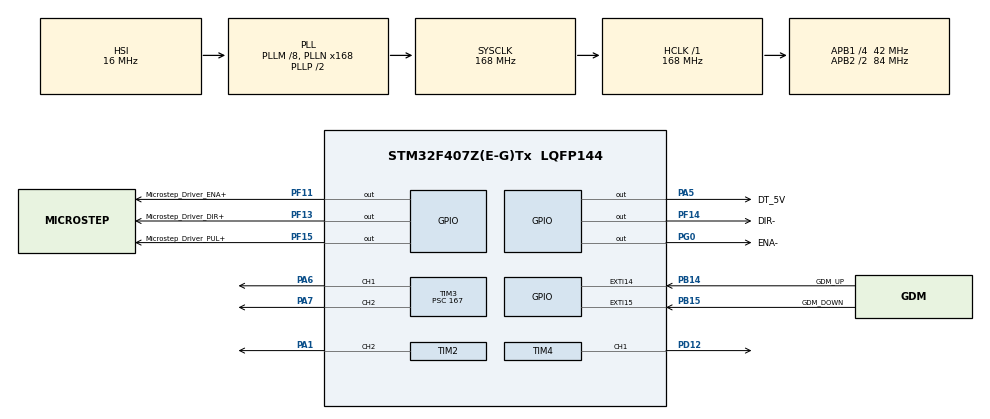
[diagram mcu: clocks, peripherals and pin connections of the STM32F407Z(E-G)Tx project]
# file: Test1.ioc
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Mcu.Family=STM32F4
Mcu.Name=STM32F407Z(E-G)Tx
Mcu.Package=LQFP144
NVIC.EXTI15_10_IRQn=true\:0\:0\:false\:false\:true\:true\:true\:true
NVIC.PriorityGroup=NVIC_PRIORITYGROUP_4
NVIC.RCC_IRQn=true\:0\:0\:true\:false\:true\:true\:false\:true
NVIC.TIM3_IRQn=true\:0\:0\:false\:false\:true\:true\:true\:true
NVIC.TIM8_BRK_TIM12_IRQn=true\:0\:0\:false\:false\:true\:true\:true\:true
NVIC.TIM8_CC_IRQn=true\:0\:0\:false\:false\:true\:true\:true\:true
NVIC.TIM8_UP_TIM13_IRQn=true\:0\:0\:false\:false\:true\:true\:true\:true
PA1.Signal=S_TIM2_CH2
PA13.Mode=Serial_Wire
PA13.Signal=SYS_JTMS-SWDIO
PA14.Mode=Serial_Wire
PA14.Signal=SYS_JTCK-SWCLK
PA5.GPIO_Label=DT_5V
PA5.PinState=GPIO_PIN_SET
PA5.Signal=GPIO_Output
PA6.Signal=S_TIM3_CH1
PA7.Signal=S_TIM3_CH2
PB14.GPIO_Label=GDM_UP
PB14.GPIO_PuPd=GPIO_PULLDOWN
PB14.Signal=GPXTI14
PB15.GPIO_Label=GDM_DOWN
PB15.GPIO_PuPd=GPIO_PULLDOWN
PB15.Signal=GPXTI15
PD12.Signal=S_TIM4_CH1
PF11.GPIO_Label=Microstep_Driver_ENA+
PF11.PinState=GPIO_PIN_SET
PF11.Signal=GPIO_Output
PF13.GPIO_Label=Microstep_Driver_DIR+
PF13.PinState=GPIO_PIN_SET
PF13.Signal=GPIO_Output
PF14.GPIO_Label=DIR-
PF14.Signal=GPIO_Output
PF15.GPIO_Label=Microstep_Driver_PUL+
PF15.PinState=GPIO_PIN_SET
PF15.Signal=GPIO_Output
PG0.GPIO_Label=ENA-
PG0.Signal=GPIO_Output
PH0-OSC_IN.Mode=HSE-External-Oscillator
PH0-OSC_IN.Signal=RCC_OSC_IN
PH1-OSC_OUT.Mode=HSE-External-Oscillator
PH1-OSC_OUT.Signal=RCC_OSC_OUT
ProjectManager.HeapSize=0x200
ProjectManager.StackSize=0x400
ProjectManager.TargetToolchain=MDK-ARM V5.32
RCC.48MHZClocksFreq_Value=84000000
RCC.AHBFreq_Value=168000000
RCC.APB1CLKDivider=RCC_HCLK_DIV4
RCC.APB1Freq_Value=42000000
RCC.APB1TimFreq_Value=84000000
RCC.APB2CLKDivider=RCC_HCLK_DIV2
RCC.APB2Freq_Value=84000000
RCC.APB2TimFreq_Value=168000000
RCC.CortexFreq_Value=168000000
RCC.HCLKFreq_Value=168000000
RCC.HSE_VALUE=25000000
RCC.HSI_VALUE=16000000
RCC.LSE_VALUE=32768
RCC.PLLM=8
RCC.PLLN=168
RCC.SYSCLKFreq_VALUE=168000000
RCC.SYSCLKSource=RCC_SYSCLKSOURCE_PLLCLK
RCC.VCOOutputFreq_Value=336000000
SH.S_TIM2_CH2.0=TIM2_CH2,PWM Generation2 CH2
SH.S_TIM3_CH1.0=TIM3_CH1,PWM Generation1 CH1
SH.S_TIM3_CH2.0=TIM3_CH2,PWM Generation2 CH2
SH.S_TIM4_CH1.0=TIM4_CH1,PWM Generation1 CH1
TIM2.AutoReloadPreload=TIM_AUTORELOAD_PRELOAD_ENABLE
TIM2.Channel-PWM\ Generation2\ CH2=TIM_CHANNEL_2
TIM2.Period=19999
TIM2.Prescaler=167
TIM2.Pulse-PWM\ Generation2\ CH2=999
TIM3.Channel-PWM\ Generation1\ CH1=TIM_CHANNEL_1
TIM3.Channel-PWM\ Generation2\ CH2=TIM_CHANNEL_2
TIM3.OCMode_PWM-PWM\ Generation1\ CH1=TIM_OCMODE_PWM1
TIM3.Period=1999
TIM3.Prescaler=167
TIM4.AutoReloadPreload=TIM_AUTORELOAD_PRELOAD_ENABLE
TIM4.Channel-PWM\ Generation1\ CH1=TIM_CHANNEL_1
TIM4.Period=1999
TIM4.Prescaler=167
TIM8.AutoReloadPreload=TIM_AUTORELOAD_PRELOAD_ENABLE
TIM8.Period=999
TIM8.Prescaler=167
VP_TIM2_VS_ClockSourceINT.Mode=Internal
VP_TIM3_VS_ClockSourceINT.Mode=Internal
VP_TIM4_VS_ClockSourceINT.Mode=Internal
VP_TIM8_VS_ClockSourceINT.Mode=Internal
board=custom

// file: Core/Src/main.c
/* USER CODE BEGIN Header */
/**
  ******************************************************************************
  * @file           : main.c
  * @brief          : Main program body
  ******************************************************************************
  * @attention
  *
  * Copyright (c) 2024 STMicroelectronics.
  * All rights reserved.
  *
  * This software is licensed under terms that can be found in the LICENSE file
  * in the root directory of this software component.
  * If no LICENSE file comes with this software, it is provided AS-IS.
  *
  ******************************************************************************
  */
/* USER CODE END Header */
#include "main.h"
#include "tim.h"
#include "gpio.h"

void SystemClock_Config(void);

/* USER CODE BEGIN 0 */
uint32_t count = 0;
uint32_t todo = 0,lef=0;
int32_t stop =1;
int16_t cnt1=0,cnt2=0;
GPIO_PinState status1[10],status2[10];
  char t;

/* USER CODE END 0 */

int main(void)
{

  /* MCU Configuration--------------------------------------------------------*/

  /* Reset of all peripherals, Initializes the Flash interface and the Systick. */
  HAL_Init();

  /* Configure the system clock */
  SystemClock_Config();

  /* Initialize all configured peripherals */
  MX_GPIO_Init();
  MX_TIM3_Init();
  MX_TIM4_Init();
  MX_TIM8_Init();
  MX_TIM2_Init();
  /* USER CODE BEGIN 2 */
  HAL_TIM_Base_Start_IT(&htim8);

  // for(lef = 0;lef<10;lef++){
  //   status1[lef]=GPIO_PIN_SET;
  //   status2[lef]=GPIO_PIN_SET;
  // }

  //HAL_TIM_PWM_Start(&htim2,TIM_CHANNEL_2);
  //__HAL_TIM_SetCompare(&htim2,TIM_CHANNEL_2,790);

  //HAL_TIM_PWM_Start(&htim3,TIM_CHANNEL_1);
  //HAL_TIM_PWM_Start(&htim3,TIM_CHANNEL_2);
  __HAL_TIM_SetCompare(&htim3,TIM_CHANNEL_1,1200);
  __HAL_TIM_SetCompare(&htim3,TIM_CHANNEL_2,1200);
  HAL_Delay(3000);
  __HAL_TIM_SetCompare(&htim3,TIM_CHANNEL_1,750);
  __HAL_TIM_SetCompare(&htim3,TIM_CHANNEL_2,750);

  HAL_TIM_PWM_Start(&htim4,TIM_CHANNEL_1);
  __HAL_TIM_SET_AUTORELOAD(&htim4,1000); //2ms
  __HAL_TIM_SetCompare(&htim4,TIM_CHANNEL_1,500);
  HAL_GPIO_WritePin(ENA__GPIO_Port,ENA__Pin,GPIO_PIN_SET);
  HAL_GPIO_WritePin(DIR__GPIO_Port,DIR__Pin,GPIO_PIN_SET);//when zhushi it move to mocalun
  HAL_GPIO_WritePin(DT_5V_GPIO_Port,DT_5V_Pin,GPIO_PIN_SET);
  /* USER CODE END 2 */

  /* Infinite loop */
  /* USER CODE BEGIN WHILE */
  while (1)
  {
		// if(stop){
    //   HAL_GPIO_WritePin(ENA__GPIO_Port,ENA__Pin,GPIO_PIN_RESET);
    // }
    count++;
		//if(count==100000)HAL_GPIO_WritePin(ENA__GPIO_Port,ENA__Pin,GPIO_PIN_SET);
		//if(count==200000)HAL_GPIO_WritePin(ENA__GPIO_Port,ENA__Pin,GPIO_PIN_SET);
    // if (count % 100000 == 0 && count < 200000000){
    //   __HAL_TIM_SetCompare(&htim2,TIM_CHANNEL_2,999+count/100000);
    // }

    // if(count==5000000){

    // }
    if(count == 300000){ //1/T平滑
     __HAL_TIM_SET_AUTORELOAD(&htim4,400); //200us
     __HAL_TIM_SetCompare(&htim4,TIM_CHANNEL_1,200);

    }
    if(count == 600000){ //1/T平滑
     __HAL_TIM_SET_AUTORELOAD(&htim4,200); //2100us
     __HAL_TIM_SetCompare(&htim4,TIM_CHANNEL_1,100);
    //__HAL_TIM_SetCompare(&htim2,TIM_CHANNEL_2,790);
    }
    // if( cnt1>=7 || cnt2>=7 ){
    //   HAL_GPIO_WritePin(ENA__GPIO_Port,ENA__Pin,GPIO_PIN_RESET);
    // }
    // if(todo){
    //   todo = 0;
    //   if(status1[0]==GPIO_PIN_RESET) cnt1--;
    //   if(status2[0]==GPIO_PIN_RESET) cnt2--;
    //   for(t=0;t<9;t++){
    //     status1[t]=status1[t+1];
    //     status2[t]=status2[t+1];
    //   }
    //   status1[9] = HAL_GPIO_ReadPin(GPIOB,GPIO_PIN_14);
    //   status2[9] = HAL_GPIO_ReadPin(GPIOB,GPIO_PIN_15);
    //   if(status1[9]==GPIO_PIN_RESET) cnt1++;
    //   if(status2[9]==GPIO_PIN_RESET) cnt2++;

    // }
		//else if(status1 || status2){
    //  HAL_GPIO_WritePin(ENA__GPIO_Port,ENA__Pin,GPIO_PIN_SET);
    //}
    if(count == 750000){
      __HAL_TIM_SET_AUTORELOAD(&htim4,150); //100us
      __HAL_TIM_SetCompare(&htim4,TIM_CHANNEL_1,75);
    }
    if(count == 900000){

      __HAL_TIM_SET_AUTORELOAD(&htim4,126); //100us
      __HAL_TIM_SetCompare(&htim4,TIM_CHANNEL_1,63);
    }
    if(count == 1050000){
      __HAL_TIM_SET_AUTORELOAD(&htim4,110); //100us
      __HAL_TIM_SetCompare(&htim4,TIM_CHANNEL_1,55);
    }
    if(count == 1200000){
      __HAL_TIM_SET_AUTORELOAD(&htim4,100); //100us
      __HAL_TIM_SetCompare(&htim4,TIM_CHANNEL_1,50);
    }
    // if(count == 2500000){
    //   __HAL_TIM_SET_AUTORELOAD(&htim4,90); //100us
    //   __HAL_TIM_SetCompare(&htim4,TIM_CHANNEL_1,45);
    // }
    // if(count == 2750000){
    //   __HAL_TIM_SET_AUTORELOAD(&htim4,84); //100us
    //   __HAL_TIM_SetCompare(&htim4,TIM_CHANNEL_1,42);
    // }
    // if(count == 3000000){
    //   __HAL_TIM_SET_AUTORELOAD(&htim4,76); //100us
    //   __HAL_TIM_SetCompare(&htim4,TIM_CHANNEL_1,38);
    // }
    // if(count == 3250000){
    //   __HAL_TIM_SET_AUTORELOAD(&htim4,72); //100us
    //   __HAL_TIM_SetCompare(&htim4,TIM_CHANNEL_1,36);
    // }
    // if(count == 3500000){
    //   __HAL_TIM_SET_AUTORELOAD(&htim4,66); //100us
    //   __HAL_TIM_SetCompare(&htim4,TIM_CHANNEL_1,33);
    // }

    // if(stop){
    //   HAL_GPIO_WritePin(ENA__GPIO_Port,ENA__Pin,GPIO_PIN_RESET);
    //   __HAL_TIM_SET_AUTORELOAD(&htim4,1000); //200us
    //   __HAL_TIM_SetCompare(&htim4,TIM_CHANNEL_1,500);
    // }

    // if(count == 5000){
    //   lef++;
    //   HAL_GPIO_TogglePin(PUL__GPIO_Port,PUL__Pin);
    //   count = 0;
    // }

    // if(lef==1000000)break;
    /* USER CODE END WHILE */

  }
}

void SystemClock_Config(void)
{
  RCC_OscInitTypeDef RCC_OscInitStruct = {0};
  RCC_ClkInitTypeDef RCC_ClkInitStruct = {0};

  /** Configure the main internal regulator output voltage
  */
  __HAL_RCC_PWR_CLK_ENABLE();
  __HAL_PWR_VOLTAGESCALING_CONFIG(PWR_REGULATOR_VOLTAGE_SCALE1);

  /** Initializes the RCC Oscillators according to the specified parameters
  * in the RCC_OscInitTypeDef structure.
  */
  RCC_OscInitStruct.OscillatorType = RCC_OSCILLATORTYPE_HSI;
  RCC_OscInitStruct.HSIState = RCC_HSI_ON;
  RCC_OscInitStruct.HSICalibrationValue = RCC_HSICALIBRATION_DEFAULT;
  RCC_OscInitStruct.PLL.PLLState = RCC_PLL_ON;
  RCC_OscInitStruct.PLL.PLLSource = RCC_PLLSOURCE_HSI;
  RCC_OscInitStruct.PLL.PLLM = 8;
  RCC_OscInitStruct.PLL.PLLN = 168;
  RCC_OscInitStruct.PLL.PLLP = RCC_PLLP_DIV2;
  RCC_OscInitStruct.PLL.PLLQ = 4;
  if (HAL_RCC_OscConfig(&RCC_OscInitStruct) != HAL_OK)
  {
    Error_Handler();
  }

  /** Initializes the CPU, AHB and APB buses clocks
  */
  RCC_ClkInitStruct.ClockType = RCC_CLOCKTYPE_HCLK|RCC_CLOCKTYPE_SYSCLK
                              |RCC_CLOCKTYPE_PCLK1|RCC_CLOCKTYPE_PCLK2;
  RCC_ClkInitStruct.SYSCLKSource = RCC_SYSCLKSOURCE_PLLCLK;
  RCC_ClkInitStruct.AHBCLKDivider = RCC_SYSCLK_DIV1;
  RCC_ClkInitStruct.APB1CLKDivider = RCC_HCLK_DIV4;
  RCC_ClkInitStruct.APB2CLKDivider = RCC_HCLK_DIV2;

  if (HAL_RCC_ClockConfig(&RCC_ClkInitStruct, FLASH_LATENCY_5) != HAL_OK)
  {
    Error_Handler();
  }
}

/* USER CODE BEGIN 4 */
void HAL_GPIO_EXTI_Callback(uint16_t GPIO_PIN){
  switch (GPIO_PIN)
  {
  case GPIO_PIN_14://上面那个光电�? //笔记：启动时会莫名触发中�?
    {
      //stop = 1;
      if(HAL_GPIO_ReadPin(GPIOB,GPIO_PIN_14)==GPIO_PIN_SET && HAL_GPIO_ReadPin(DIR__GPIO_Port,DIR__Pin)==GPIO_PIN_RESET){ //must
        HAL_GPIO_WritePin(ENA__GPIO_Port,ENA__Pin,GPIO_PIN_RESET);
        HAL_GPIO_WritePin(DIR__GPIO_Port,DIR__Pin,GPIO_PIN_SET);
      }
      break;
    }

  case GPIO_PIN_15:
    {
      //stop = 1;
      if(HAL_GPIO_ReadPin(GPIOB,GPIO_PIN_15)==GPIO_PIN_SET && HAL_GPIO_ReadPin(DIR__GPIO_Port,DIR__Pin)==GPIO_PIN_SET){
        HAL_GPIO_WritePin(ENA__GPIO_Port,ENA__Pin,GPIO_PIN_RESET);
        HAL_GPIO_WritePin(DIR__GPIO_Port,DIR__Pin,GPIO_PIN_RESET);
      }
      break;
    }
  default:
    break;
  }

//      //__HAL_TIM_SET_AUTORELOAD(&htim4,1000); //200us
//      //HAL_GPIO_WritePin(ENA__GPIO_Port,ENA__Pin,GPIO_PIN_RESET);
//      //HAL_GPIO_WritePin(ENA__GPIO_Port,ENA__Pin,GPIO_PIN_RESET);

}
// void HAL_TIM_PeriodElapsedCallback(TIM_HandleTypeDef *htim){

//   if(htim->Instance == htim8.Instance){
//     todo=1;
//   }

/* USER CODE END 4 */

void Error_Handler(void)
{
  __disable_irq();
  while (1)
  {
  }
}
